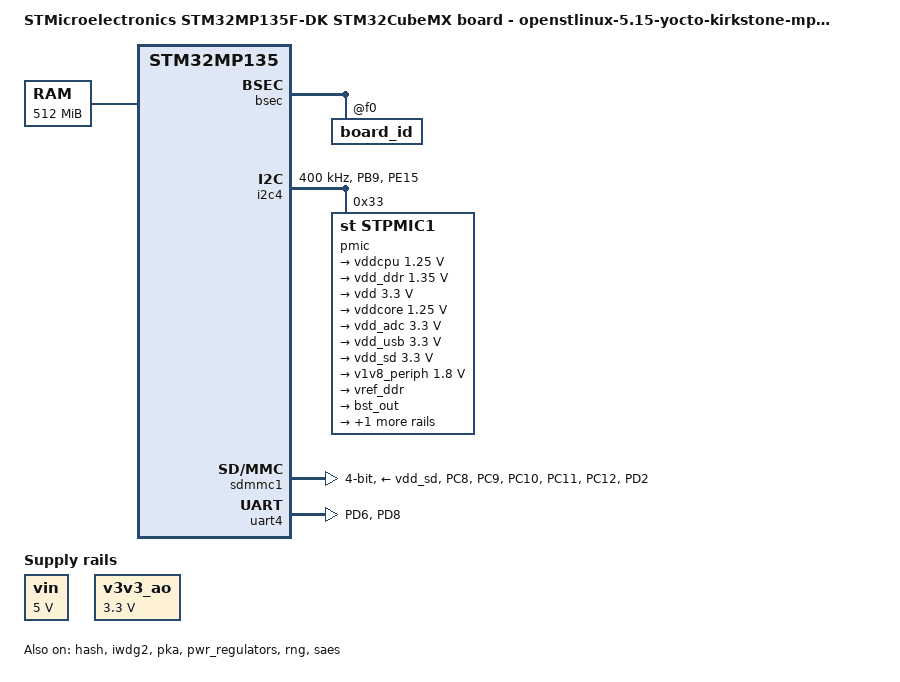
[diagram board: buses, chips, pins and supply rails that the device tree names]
/dts-v1/;
#include <dt-bindings/pinctrl/stm32-pinfunc.h>
#include <dt-bindings/clock/stm32mp13-clksrc.h>
#include "stm32mp13-mx.dtsi"
#include "stm32mp135.dtsi"
#include "stm32mp13xf.dtsi"
#include "stm32mp13-ddr.dtsi"

/* USER CODE BEGIN includes */
/* USER CODE END includes */

/{
	model = "STMicroelectronics STM32MP135F-DK STM32CubeMX board - openstlinux-5.15-yocto-kirkstone-mp1-v22.06.15";
	compatible = "st,stm32mp135f-board_135f-dk-mx", "st,stm32mp135";

	/* USER CODE BEGIN root */

	aliases{
		serial0 = &uart4;
		serial1 = &usart1;
		serial2 = &uart8;
		serial3 = &usart2;
	};

	chosen{
		stdout-path = "serial0:115200n8";
	};

	vin:vin{
		compatible = "regulator-fixed";
		regulator-name = "vin";
		regulator-min-microvolt = <5000000>;
		regulator-max-microvolt = <5000000>;
		regulator-always-on;
	};

	v3v3_ao:v3v3_ao{
		compatible = "regulator-fixed";
		regulator-name = "v3v3_ao";
		regulator-min-microvolt = <3300000>;
		regulator-max-microvolt = <3300000>;
		regulator-always-on;
	};
	/* USER CODE END root */

	memory@c0000000{
		device_type = "memory";
		reg = <0xc0000000 0x20000000>;
	};

	clocks{

		clk_hsi:clk-hsi{
			clock-frequency = <64000000>;
		};

		clk_lse:clk-lse{
			clock-frequency = <32768>;
			st,drive = < LSEDRV_MEDIUM_HIGH >;
		};

		clk_hse:clk-hse{
			clock-frequency = <24000000>;
		};

		clk_i2sin:clk-i2sin{
			status = "disabled";
		};
	};
};

&pinctrl{

	i2c4_pins_mx:i2c4_mx-0{

		pins{
			pinmux = <STM32_PINMUX('B', 9, AF6)>,
					<STM32_PINMUX('E', 15, AF6)>;
			bias-disable;
			drive-open-drain;
			slew-rate = <0>;
		};
	};

	sdmmc1_pins_mx:sdmmc1_mx-0{

		pins{
			pinmux = <STM32_PINMUX('C', 8, AF12)>,
					<STM32_PINMUX('C', 9, AF12)>,
					<STM32_PINMUX('C', 10, AF12)>,
					<STM32_PINMUX('C', 11, AF12)>,
					<STM32_PINMUX('C', 12, AF12)>,
					<STM32_PINMUX('D', 2, AF12)>;
			bias-disable;
			drive-push-pull;
			slew-rate = <1>;
		};
	};

	uart4_pins_mx:uart4_mx-0{

		pins1{
			pinmux = <STM32_PINMUX('D', 6, AF8)>;
			bias-disable;
			drive-push-pull;
			slew-rate = <0>;
		};

		pins2{
			pinmux = <STM32_PINMUX('D', 8, AF8)>;
			bias-disable;
		};
	};
};

&bsec{
	status = "okay";

	/* USER CODE BEGIN bsec */

	board_id:board_id@f0{
		reg = <0xf0 0x4>;
		st,non-secure-otp;
	};
	/* USER CODE END bsec */
};

&hash{
	status = "okay";
};

&i2c4{
	pinctrl-names = "default";
	pinctrl-0 = <&i2c4_pins_mx>;
	status = "okay";

	/* USER CODE BEGIN i2c4 */
	i2c-scl-rising-time-ns = <185>;
	i2c-scl-falling-time-ns = <20>;
	clock-frequency = <400000>;

	pmic:stpmic@33{
		compatible = "st,stpmic1";
		reg = <0x33>;
		status = "okay";

		regulators{
			compatible = "st,stpmic1-regulators";
			buck1-supply = <&vin>;
			buck2-supply = <&vin>;
			buck3-supply = <&vin>;
			buck4-supply = <&vin>;
			ldo1-supply = <&vin>;
			ldo4-supply = <&vin>;
			ldo5-supply = <&vin>;
			ldo6-supply = <&vin>;
			vref_ddr-supply = <&vin>;
			pwr_sw1-supply = <&bst_out>;
			pwr_sw2-supply = <&v3v3_ao>;

			vddcpu:buck1{
				regulator-name = "vddcpu";
				regulator-min-microvolt = <1250000>;
				regulator-max-microvolt = <1250000>;
				regulator-always-on;
				regulator-over-current-protection;
			};

			vdd_ddr:buck2{
				regulator-name = "vdd_ddr";
				regulator-min-microvolt = <1350000>;
				regulator-max-microvolt = <1350000>;
				regulator-always-on;
				regulator-over-current-protection;
			};

			vdd:buck3{
				regulator-name = "vdd";
				regulator-min-microvolt = <3300000>;
				regulator-max-microvolt = <3300000>;
				regulator-always-on;
				st,mask-reset;
				regulator-over-current-protection;
			};

			vddcore:buck4{
				regulator-name = "vddcore";
				regulator-min-microvolt = <1250000>;
				regulator-max-microvolt = <1250000>;
				regulator-always-on;
				regulator-over-current-protection;
			};

			vdd_adc:ldo1{
				regulator-name = "vdd_adc";
				regulator-min-microvolt = <3300000>;
				regulator-max-microvolt = <3300000>;
			};

			vdd_usb:ldo4{
				regulator-name = "vdd_usb";
				regulator-min-microvolt = <3300000>;
				regulator-max-microvolt = <3300000>;
			};

			vdd_sd:ldo5{
				regulator-name = "vdd_sd";
				regulator-min-microvolt = <3300000>;
				regulator-max-microvolt = <3300000>;
				regulator-boot-on;
			};

			v1v8_periph:ldo6{
				regulator-name = "v1v8_periph";
				regulator-min-microvolt = <1800000>;
				regulator-max-microvolt = <1800000>;
			};

			vref_ddr:vref_ddr{
				regulator-name = "vref_ddr";
				regulator-always-on;
			};

			bst_out:boost{
				regulator-name = "bst_out";
			};

			v3v3_sw:pwr_sw2{
				regulator-name = "v3v3_sw";
				regulator-active-discharge = <1>;
				regulator-always-on;
			};
		};
	};
	/* USER CODE END i2c4 */
};

&iwdg2{
	status = "okay";

	/* USER CODE BEGIN iwdg2 */
	timeout-sec = <32>;
	/* USER CODE END iwdg2 */
};

&pka{
	status = "okay";
};

&pwr_regulators{
	status = "okay";

	/* USER CODE BEGIN pwr_regulators */
	vdd-supply = <&vdd>;
	vdd_3v3_usbfs-supply = <&vdd_usb>;
	/* USER CODE END pwr_regulators */
};

&rcc{
	status = "okay";
	st,clksrc = <
		CLK_MPU_PLL1P
		CLK_AXI_PLL2P
		CLK_MLAHBS_PLL3
		CLK_RTC_LSE
		CLK_MCO1_HSE
		CLK_MCO2_DISABLED
		CLK_CKPER_HSE
		CLK_ETH1_PLL4P
		CLK_ETH2_PLL4P
		CLK_SDMMC1_PLL4P
		CLK_SDMMC2_PLL4P
		CLK_STGEN_HSE
		CLK_USBPHY_HSE
		CLK_I2C4_HSI
		CLK_USBO_USBPHY
		CLK_ADC1_CKPER
		CLK_ADC2_PLL4R
		CLK_I2C12_HSI
		CLK_I2C5_HSI
		CLK_UART2_HSI
		CLK_UART4_HSI
		CLK_RNG1_PLL4R
		CLK_SAES_AXI
		CLK_DCMIPP_PLL2Q
		CLK_LPTIM3_PCLK3
	>;
	st,clkdiv = <
		DIV(DIV_MPU, 1)
		DIV(DIV_AXI, 0)
		DIV(DIV_MLAHB, 0)
		DIV(DIV_APB1, 1)
		DIV(DIV_APB2, 1)
		DIV(DIV_APB3, 1)
		DIV(DIV_APB4, 1)
		DIV(DIV_APB5, 2)
		DIV(DIV_APB6, 1)
		DIV(DIV_RTC, 0)
		DIV(DIV_MCO1, 0)
		DIV(DIV_MCO2, 0)
	>;

	st,pll_vco{

		pll1_vco_1300Mhz:pll1-vco-1300Mhz{
			src = < CLK_PLL12_HSE >;
			divmn = < 2 80 >;
			frac = < 0x800 >;
		};

		pll2_vco_1066Mhz:pll2-vco-1066Mhz{
			src = < CLK_PLL12_HSE >;
			divmn = < 2 65 >;
			frac = < 0x1400 >;
		};

		pll3_vco_417Mhz:pll3-vco-417Mhz{
			src = < CLK_PLL3_HSE >;
			divmn = < 1 33 >;
			frac = < 0x1a04 >;
		};

		pll4_vco_600Mhz:pll4-vco-600Mhz{
			src = < CLK_PLL4_HSE >;
			divmn = < 1 49 >;
		};
	};

	pll1:st,pll@0{
		compatible = "st,stm32mp1-pll";
		reg = <0>;
		st,pll = < &pll1_cfg1 >;

		pll1_cfg1:pll1_cfg1{
			st,pll_vco = < &pll1_vco_1300Mhz >;
			st,pll_div_pqr = < 0 1 1 >;
		};
	};

	pll2:st,pll@1{
		compatible = "st,stm32mp1-pll";
		reg = <1>;
		st,pll = < &pll2_cfg1 >;

		pll2_cfg1:pll2_cfg1{
			st,pll_vco = < &pll2_vco_1066Mhz >;
			st,pll_div_pqr = < 1 1 0 >;
		};
	};

	pll3:st,pll@2{
		compatible = "st,stm32mp1-pll";
		reg = <2>;
		st,pll = < &pll3_cfg1 >;

		pll3_cfg1:pll3_cfg1{
			st,pll_vco = < &pll3_vco_417Mhz >;
			st,pll_div_pqr = < 1 16 36 >;
		};
	};

	pll4:st,pll@3{
		compatible = "st,stm32mp1-pll";
		reg = <3>;
		st,pll = < &pll4_cfg1 >;

		pll4_cfg1:pll4_cfg1{
			st,pll_vco = < &pll4_vco_600Mhz >;
			st,pll_div_pqr = < 11 59 11 >;
		};
	};

	st,clk_opp{

		st,ck_mpu{

			cfg_1{
				hz = < 650000000 >;
				st,clksrc = < CLK_MPU_PLL1P >;
				st,pll = < &pll1_cfg1 >;
			};
		};

		st,ck_axi{

			cfg_1{
				hz = < 266500000 >;
				st,clksrc = < CLK_AXI_PLL2P >;
				st,clkdiv = < DIV(DIV_AXI, 0) >;
				st,pll = < &pll2_cfg1 >;
			};
		};

		st,ck_mlahbs{

			cfg_1{
				hz = < 208877929 >;
				st,clksrc = < CLK_MLAHBS_PLL3 >;
				st,clkdiv = < DIV(DIV_MLAHB, 0) >;
				st,pll = < &pll3_cfg1 >;
			};
		};
	};
};

&rng{
	status = "okay";
};

&saes{
	status = "okay";
};

&sdmmc1{
	pinctrl-names = "default";
	pinctrl-0 = <&sdmmc1_pins_mx>;
	status = "okay";

	/* USER CODE BEGIN sdmmc1 */
	disable-wp;
	st,neg-edge;
	bus-width = <4>;
	vmmc-supply = <&vdd_sd>;
	/* USER CODE END sdmmc1 */
};

&uart4{
	pinctrl-names = "default";
	pinctrl-0 = <&uart4_pins_mx>;
	status = "okay";
};

/* USER CODE BEGIN addons */

&cpu0{
	cpu-supply = <&vddcpu>;
};
/* USER CODE END addons */
